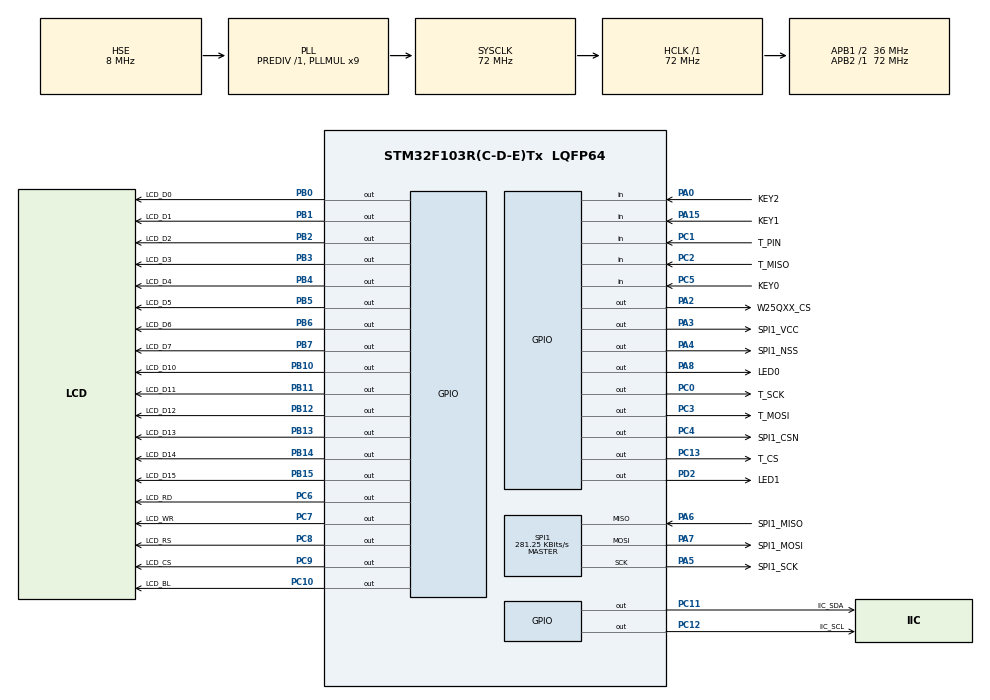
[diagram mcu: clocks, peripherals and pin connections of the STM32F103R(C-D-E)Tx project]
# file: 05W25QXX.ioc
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PC10.GPIO_PuPd=GPIO_PULLUP
SPI1.VirtualType=VM_MASTER
PB10.GPIO_PuPd=GPIO_PULLUP
PA15.GPIO_Mode=GPIO_MODE_INPUT
PC12.Signal=GPIO_Output
PB14.GPIO_Label=LCD_D14
PA3.GPIO_PuPd=GPIO_PULLUP
PC6.GPIO_Label=LCD_RD
PC0.GPIO_ModeDefaultOutputPP=GPIO_MODE_OUTPUT_PP
PA6.GPIO_Label=SPI1_MISO
PB6.GPIO_Label=LCD_D6
PA3.GPIO_Speed=GPIO_SPEED_FREQ_HIGH
PB13.Signal=GPIO_Output
PB3.GPIO_Speed=GPIO_SPEED_FREQ_HIGH
PC3.GPIO_Speed=GPIO_SPEED_FREQ_HIGH
RCC.SYSCLKSource=RCC_SYSCLKSOURCE_PLLCLK
PB11.GPIO_Speed=GPIO_SPEED_FREQ_HIGH
SPI1.Direction=SPI_DIRECTION_2LINES
RCC.APB2TimFreq_Value=72000000
PB6.Signal=GPIO_Output
PC7.Signal=GPIO_Output
SPI1.CalculateBaudRate=281.25 KBits/s
PB15.GPIO_ModeDefaultOutputPP=GPIO_MODE_OUTPUT_PP
PC3.Signal=GPIO_Output
PB2.Signal=GPIO_Output
PB12.GPIO_ModeDefaultOutputPP=GPIO_MODE_OUTPUT_PP
PC1.GPIO_PuPd=GPIO_PULLUP
PB12.GPIO_Label=LCD_D12
PC4.GPIO_Label=SPI1_CSN
PB1.GPIO_Speed=GPIO_SPEED_FREQ_HIGH
PB1.GPIO_Label=LCD_D1
PC11.GPIO_Speed=GPIO_SPEED_FREQ_HIGH
PA8.Signal=GPIO_Output
PA8.GPIO_ModeDefaultOutputPP=GPIO_MODE_OUTPUT_PP
PC13-TAMPER-RTC.GPIO_Speed=GPIO_SPEED_FREQ_HIGH
PB2.GPIO_PuPd=GPIO_PULLUP
PC10.GPIO_ModeDefaultOutputPP=GPIO_MODE_OUTPUT_PP
Mcu.Package=LQFP64
PB1.Signal=GPIO_Output
PB14.GPIO_PuPd=GPIO_PULLUP
PA2.GPIO_ModeDefaultOutputPP=GPIO_MODE_OUTPUT_PP
PC13-TAMPER-RTC.GPIO_PuPd=GPIO_PULLUP
PB6.GPIO_ModeDefaultOutputPP=GPIO_MODE_OUTPUT_PP
PC6.GPIO_PuPd=GPIO_PULLUP
PC8.GPIO_Speed=GPIO_SPEED_FREQ_HIGH
PB5.GPIO_Speed=GPIO_SPEED_FREQ_HIGH
RCC.APB1TimFreq_Value=72000000
PB0.GPIO_ModeDefaultOutputPP=GPIO_MODE_OUTPUT_PP
PC12.GPIO_PuPd=GPIO_PULLUP
PB2.GPIO_ModeDefaultOutputPP=GPIO_MODE_OUTPUT_PP
PA4.GPIO_Label=SPI1_NSS
PC6.GPIO_Speed=GPIO_SPEED_FREQ_HIGH
PA8.GPIO_Speed=GPIO_SPEED_FREQ_HIGH
PC6.GPIO_ModeDefaultOutputPP=GPIO_MODE_OUTPUT_PP
PA5.Mode=Full_Duplex_Master
PB7.GPIO_PuPd=GPIO_PULLUP
PB5.GPIO_ModeDefaultOutputPP=GPIO_MODE_OUTPUT_PP
PC7.GPIO_ModeDefaultOutputPP=GPIO_MODE_OUTPUT_PP
PA3.GPIO_ModeDefaultOutputPP=GPIO_MODE_OUTPUT_PP
PC4.PinState=GPIO_PIN_SET
PD2.GPIO_PuPd=GPIO_PULLUP
PB6.GPIO_PuPd=GPIO_PULLUP
PC2.Signal=GPIO_Input
PC6.Signal=GPIO_Output
PB11.GPIO_Label=LCD_D11
PC12.GPIO_ModeDefaultOutputPP=GPIO_MODE_OUTPUT_PP
SPI1.CLKPhase=SPI_PHASE_2EDGE
PC0.Signal=GPIO_Output
RCC.APB1CLKDivider=RCC_HCLK_DIV2
PA0-WKUP.GPIO_Label=KEY2
PA0-WKUP.Signal=GPIO_Input
PA8.GPIO_Label=LED0
PB14.GPIO_Speed=GPIO_SPEED_FREQ_HIGH
PB13.GPIO_Speed=GPIO_SPEED_FREQ_HIGH
PB4.GPIO_PuPd=GPIO_PULLUP
PC7.GPIO_PuPd=GPIO_PULLUP
PB11.GPIO_ModeDefaultOutputPP=GPIO_MODE_OUTPUT_PP
PB10.Signal=GPIO_Output
PB14.Signal=GPIO_Output
PA5.Signal=SPI1_SCK
PC13-TAMPER-RTC.GPIO_Label=T_CS
PB13.GPIO_PuPd=GPIO_PULLUP
PB4.GPIO_Label=LCD_D4
PB15.GPIO_Label=LCD_D15
SPI1.Mode=SPI_MODE_MASTER
PC9.GPIO_PuPd=GPIO_PULLUP
PC11.GPIO_ModeDefaultOutputPP=GPIO_MODE_OUTPUT_PP
PA13.Mode=Serial_Wire
PC7.GPIO_Label=LCD_WR
PC8.GPIO_PuPd=GPIO_PULLUP
PA4.Signal=GPIO_Output
PC13-TAMPER-RTC.GPIO_ModeDefaultOutputPP=GPIO_MODE_OUTPUT_PP
PB5.Signal=GPIO_Output
PA5.GPIO_Label=SPI1_SCK
PB5.GPIO_PuPd=GPIO_PULLUP
PC12.GPIO_Label=IIC_SCL
PC5.GPIO_Mode=GPIO_MODE_INPUT
ProjectManager.HeapSize=0x200
PC9.GPIO_Speed=GPIO_SPEED_FREQ_HIGH
NVIC.PriorityGroup=NVIC_PRIORITYGROUP_4
PC3.GPIO_Label=T_MOSI
PA0-WKUP.GPIO_PuPd=GPIO_PULLDOWN
PA3.PinState=GPIO_PIN_SET
PC3.GPIO_ModeDefaultOutputPP=GPIO_MODE_OUTPUT_PP
PB1.GPIO_ModeDefaultOutputPP=GPIO_MODE_OUTPUT_PP
PD2.Signal=GPIO_Output
PB6.GPIO_Speed=GPIO_SPEED_FREQ_HIGH
PB12.GPIO_PuPd=GPIO_PULLUP
PB0.Signal=GPIO_Output
PC1.Signal=GPIO_Input
PD2.GPIO_Label=LED1
Mcu.Family=STM32F1
PA2.GPIO_PuPd=GPIO_PULLUP
PA6.Mode=Full_Duplex_Master
PD2.GPIO_ModeDefaultOutputPP=GPIO_MODE_OUTPUT_PP
PB10.GPIO_Speed=GPIO_SPEED_FREQ_HIGH
PC10.Signal=GPIO_Output
PB2.GPIO_Speed=GPIO_SPEED_FREQ_HIGH
PA2.GPIO_Speed=GPIO_SPEED_FREQ_HIGH
PC0.GPIO_Label=T_SCK
PD2.GPIO_Speed=GPIO_SPEED_FREQ_HIGH
PB0.GPIO_Label=LCD_D0
PC10.GPIO_Speed=GPIO_SPEED_FREQ_HIGH
PB11.GPIO_PuPd=GPIO_PULLUP
PB13.GPIO_Label=LCD_D13
PB11.Signal=GPIO_Output
PB15.Signal=GPIO_Output
ProjectManager.StackSize=0x400
PD1-OSC_OUT.Signal=RCC_OSC_OUT
PA15.GPIO_Label=KEY1
PC11.GPIO_PuPd=GPIO_PULLUP
PB10.GPIO_ModeDefaultOutputPP=GPIO_MODE_OUTPUT_PP
SPI1.CLKPolarity=SPI_POLARITY_HIGH
PB1.GPIO_PuPd=GPIO_PULLUP
RCC.HCLKFreq_Value=72000000
PB13.GPIO_ModeDefaultOutputPP=GPIO_MODE_OUTPUT_PP
RCC.AHBFreq_Value=72000000
PA4.GPIO_PuPd=GPIO_PULLUP
RCC.PLLMUL=RCC_PLL_MUL9
PA4.GPIO_Speed=GPIO_SPEED_FREQ_HIGH
PC4.GPIO_Speed=GPIO_SPEED_FREQ_HIGH
PA2.PinState=GPIO_PIN_SET
PB3.GPIO_PuPd=GPIO_PULLUP
PA14.Mode=Serial_Wire
PC11.GPIO_Label=IIC_SDA
PB7.Signal=GPIO_Output
PB7.GPIO_Label=LCD_D7
PA6.Signal=SPI1_MISO
PB15.GPIO_PuPd=GPIO_PULLUP
PA2.GPIO_Label=W25QXX_CS
PC8.GPIO_ModeDefaultOutputPP=GPIO_MODE_OUTPUT_PP
PA15.Signal=GPIO_Input
PA4.GPIO_ModeDefaultOutputPP=GPIO_MODE_OUTPUT_PP
PB5.GPIO_Label=LCD_D5
PC5.Signal=GPIO_Input
PC0.GPIO_PuPd=GPIO_PULLUP
PC4.GPIO_ModeDefaultOutputPP=GPIO_MODE_OUTPUT_PP
SPI1.BaudRatePrescaler=SPI_BAUDRATEPRESCALER_256
PC2.GPIO_Label=T_MISO
PA8.PinState=GPIO_PIN_SET
PB4.Signal=GPIO_Output
PB4.GPIO_ModeDefaultOutputPP=GPIO_MODE_OUTPUT_PP
PA3.Signal=GPIO_Output
PB7.GPIO_Speed=GPIO_SPEED_FREQ_HIGH
PB3.GPIO_Label=LCD_D3
RCC.PLLSourceVirtual=RCC_PLLSOURCE_HSE
PA7.Mode=Full_Duplex_Master
PD1-OSC_OUT.Mode=HSE-External-Oscillator
PC10.GPIO_Label=LCD_BL
PC9.GPIO_Label=LCD_CS
PC4.GPIO_PuPd=GPIO_PULLUP
PC11.Signal=GPIO_Output
PC8.Signal=GPIO_Output
PC4.Signal=GPIO_Output
PC13-TAMPER-RTC.Signal=GPIO_Output
PD0-OSC_IN.Signal=RCC_OSC_IN
PC5.GPIO_PuPd=GPIO_PULLUP
PB0.GPIO_Speed=GPIO_SPEED_FREQ_HIGH
PC8.GPIO_Label=LCD_RS
PA13.Signal=SYS_JTMS-SWDIO
PC0.GPIO_Speed=GPIO_SPEED_FREQ_HIGH
PA4.PinState=GPIO_PIN_SET
ProjectManager.TargetToolchain=STM32CubeIDE
PB10.GPIO_Label=LCD_D10
RCC.USBFreq_Value=72000000
PB14.GPIO_ModeDefaultOutputPP=GPIO_MODE_OUTPUT_PP
PB12.GPIO_Speed=GPIO_SPEED_FREQ_HIGH
PD0-OSC_IN.Mode=HSE-External-Oscillator
PD2.PinState=GPIO_PIN_SET
board=custom
PC7.GPIO_Speed=GPIO_SPEED_FREQ_HIGH
PB4.GPIO_Speed=GPIO_SPEED_FREQ_HIGH
RCC.APB2Freq_Value=72000000
PB7.GPIO_ModeDefaultOutputPP=GPIO_MODE_OUTPUT_PP
PB15.GPIO_Speed=GPIO_SPEED_FREQ_HIGH
PC9.GPIO_ModeDefaultOutputPP=GPIO_MODE_OUTPUT_PP
PC1.GPIO_Label=T_PIN
PC2.GPIO_PuPd=GPIO_PULLUP
Mcu.Name=STM32F103R(C-D-E)Tx
PA2.Signal=GPIO_Output
PB3.Signal=GPIO_Output
RCC.SYSCLKFreq_VALUE=72000000
PA7.GPIO_Label=SPI1_MOSI
PC5.GPIO_Label=KEY0
PA14.Signal=SYS_JTCK-SWCLK
PB2.GPIO_Label=LCD_D2
PA8.GPIO_PuPd=GPIO_PULLUP
PA15.GPIO_PuPd=GPIO_PULLUP
PC9.Signal=GPIO_Output
RCC.APB1Freq_Value=36000000
PC12.GPIO_Speed=GPIO_SPEED_FREQ_HIGH
PB12.Signal=GPIO_Output
PB0.GPIO_PuPd=GPIO_PULLUP
PC3.GPIO_PuPd=GPIO_PULLUP
PB3.GPIO_ModeDefaultOutputPP=GPIO_MODE_OUTPUT_PP
PA3.GPIO_Label=SPI1_VCC
PA7.Signal=SPI1_MOSI

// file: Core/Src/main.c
/* USER CODE BEGIN Header */
/**
  ******************************************************************************
  * @file           : main.c
  * @brief          : Main program body
  ******************************************************************************
  * @attention
  *
  * <h2><center>&copy; Copyright (c) 2021 STMicroelectronics.
  * All rights reserved.</center></h2>
  *
  * This software component is licensed by ST under BSD 3-Clause license,
  * the "License"; You may not use this file except in compliance with the
  * License. You may obtain a copy of the License at:
  *                        opensource.org/licenses/BSD-3-Clause
  *
  ******************************************************************************
  */
/* USER CODE END Header */
#include "main.h"
#include "spi.h"
#include "gpio.h"

/* USER CODE BEGIN Includes */
#include "lcd.h"
#include "touch.h"
#include "w25qxx.h"
/* USER CODE END Includes */

void SystemClock_Config(void);

/* USER CODE BEGIN 0 */
u8 A;
/* USER CODE END 0 */

int main(void)
{
  /* USER CODE BEGIN 1 */

	u32 fontcnt;
	u8 i,j;
	u8 fontx[2];						//gbk码
	u8 key,t;
  /* USER CODE END 1 */

  /* MCU Configuration--------------------------------------------------------*/

  /* Reset of all peripherals, Initializes the Flash interface and the Systick. */
  HAL_Init();

  /* Configure the system clock */
  SystemClock_Config();

  /* Initialize all configured peripherals */
  MX_GPIO_Init();
  MX_SPI1_Init();
  /* USER CODE BEGIN 2 */
  delay_init(72);
  LCD_Init();
	font_init();
  tp_dev.init();

	POINT_COLOR=RED;
	Show_Str(30,50,200,16,"Mini STM32开发板",16,0);
	Show_Str(30,70,200,16,"GBK字库测试程序",16,0);
	Show_Str(30,90,200,16,"正点原子@ALIENTEK",16,0);
	Show_Str(30,110,200,16,"2019年11月18日",16,0);
	Show_Str(30,130,200,16,"按KEY0,更新字库",16,0);
 	POINT_COLOR=BLUE;
	Show_Str(30,150,200,16,"内码高字节:",16,0);
	Show_Str(30,170,200,16,"内码低字节:",16,0);
	Show_Str(30,190,200,16,"汉字计数器:",16,0);

	Show_Str(30,220,200,24,"对应汉字为:",24,0);
	Show_Str(30,244,200,16,"对应汉字(16*16)为:",16,0);
	Show_Str(30,260,200,12,"对应汉字(12*12)为:",12,0);
	while(1)
	{
		fontcnt=0;
		for(i=0x81;i<0xff;i++)
		{
			fontx[0]=i;
			LCD_ShowNum(118,150,i,3,16);		//显示内码高字节
			for(j=0x40;j<0xfe;j++)
			{
				if(j==0x7f)continue;
				fontcnt++;
				LCD_ShowNum(118,170,j,3,16);	//显示内码低字节
				LCD_ShowNum(118,190,fontcnt,5,16);//汉字计数显示
			 	fontx[1]=j;
				Show_Font(30+132,220,fontx,24,0);
				Show_Font(30+144,244,fontx,16,0);
				Show_Font(30+108,260,fontx,12,0);
				t=200;
				while(t--)//延时,同时扫描按键
				{
					delay_ms(1);
					key=KEY_Scan(0);
				}
				LED0_T;
			}
		}
	}
  /* USER CODE END 2 */

  /* Infinite loop */
  while (1)
  {

  }
}

void SystemClock_Config(void)
{
  RCC_OscInitTypeDef RCC_OscInitStruct = {0};
  RCC_ClkInitTypeDef RCC_ClkInitStruct = {0};

  /** Initializes the RCC Oscillators according to the specified parameters
  * in the RCC_OscInitTypeDef structure.
  */
  RCC_OscInitStruct.OscillatorType = RCC_OSCILLATORTYPE_HSE;
  RCC_OscInitStruct.HSEState = RCC_HSE_ON;
  RCC_OscInitStruct.HSEPredivValue = RCC_HSE_PREDIV_DIV1;
  RCC_OscInitStruct.HSIState = RCC_HSI_ON;
  RCC_OscInitStruct.PLL.PLLState = RCC_PLL_ON;
  RCC_OscInitStruct.PLL.PLLSource = RCC_PLLSOURCE_HSE;
  RCC_OscInitStruct.PLL.PLLMUL = RCC_PLL_MUL9;
  if (HAL_RCC_OscConfig(&RCC_OscInitStruct) != HAL_OK)
  {
    Error_Handler();
  }
  /** Initializes the CPU, AHB and APB buses clocks
  */
  RCC_ClkInitStruct.ClockType = RCC_CLOCKTYPE_HCLK|RCC_CLOCKTYPE_SYSCLK
                              |RCC_CLOCKTYPE_PCLK1|RCC_CLOCKTYPE_PCLK2;
  RCC_ClkInitStruct.SYSCLKSource = RCC_SYSCLKSOURCE_PLLCLK;
  RCC_ClkInitStruct.AHBCLKDivider = RCC_SYSCLK_DIV1;
  RCC_ClkInitStruct.APB1CLKDivider = RCC_HCLK_DIV2;
  RCC_ClkInitStruct.APB2CLKDivider = RCC_HCLK_DIV1;

  if (HAL_RCC_ClockConfig(&RCC_ClkInitStruct, FLASH_LATENCY_2) != HAL_OK)
  {
    Error_Handler();
  }
}

void Error_Handler(void)
{
  __disable_irq();
  while (1)
  {
  }
}

/************************ (C) COPYRIGHT STMicroelectronics *****END OF FILE****/
